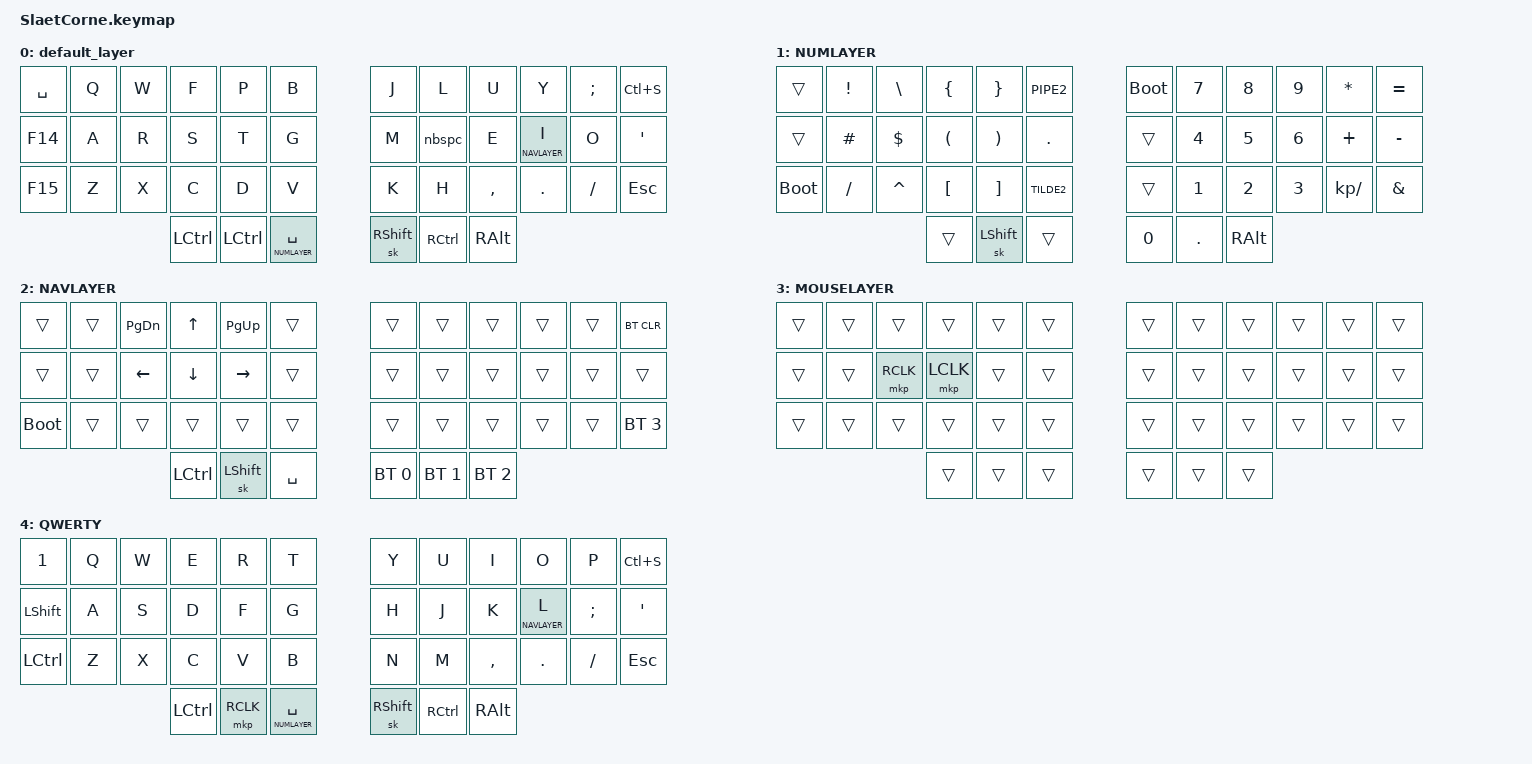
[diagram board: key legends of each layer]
/*
 * Copyright (c) 2020 The ZMK Contributors
 *
 * SPDX-License-Identifier: MIT
 */

#include <behaviors.dtsi>
#include <dt-bindings/zmk/keys.h>
#include <dt-bindings/zmk/bt.h>
#include <dt-bindings/zmk/mouse.h>
#define DEFAULT      0
#define NUMLAYER     1
#define NAVLAYER     2
#define MOUSELAYER   3
#define QWERTY       4

/*                                      42 KEY MATRIX / LAYOUT MAPPING

  ╭────────────────────────┬────────────────────────╮ ╭─────────────────────────┬─────────────────────────╮
  │  0   1   2   3   4   5 │  6   7   8   9  10  11 │ │ LT5 LT4 LT3 LT2 LT1 LT0 │ RT0 RT1 RT2 RT3 RT4 RT5 │
  │ 12  13  14  15  16  17 │ 18  19  20  21  22  23 │ │ LM5 LM4 LM3 LM2 LM1 LM0 │ RM0 RM1 RM2 RM3 RM4 RM5 │
  │ 24  25  26  27  28  29 │ 30  31  32  33  34  35 │ │ LB5 LB4 LB3 LB2 LB1 LB0 │ RB0 RB1 RB2 RB3 RB4 RB5 │
  ╰───────────╮ 36  37  38 │ 39  40  41 ╭───────────╯ ╰───────────╮ LH2 LH1 LH0 │ RH0 RH1 RH2 ╭───────────╯
              ╰────────────┴────────────╯                         ╰─────────────┴─────────────╯             */

/ {
     behaviors {
        nbspc: n_bspc {
            compatible = "zmk,behavior-mod-morph";
            #binding-cells = <0>;
            bindings = <&kp N>, <&kp BSPC>;
            mods = <(MOD_LCTL|MOD_RALT)>;
        };
    };
    
    combos {
        compatible = "zmk,combos";
        combo_esc {
            timeout-ms = <50>;
            key-positions = <0 1>;
            bindings = <&kp ESC>;
        };
        combo_ent {
            timeout-ms = <50>;
            key-positions = <31 32>;
            bindings = <&kp RET>;
        };
        combo_bspc {
            timeout-ms = <50>;
            key-positions = <19 20>;
            bindings = <&kp BSPC>;
        };
        combo_tab {
            timeout-ms = <50>;
            key-positions = <3 4>;
            bindings = <&kp TAB>;
        };
        combo_quote {
            timeout-ms = <50>;
            key-positions = <7 8>;
            bindings = <&kp SQT>;
        };
        combo_lclk {
            timeout-ms = <50>;
            key-positions = <15 16>;
            bindings = <&mkp LCLK>;
        };
        combo_rclk {
            timeout-ms = <50>;
            key-positions = <14 15>;
            bindings = <&mkp RCLK>;
        };
        combo_del {
            timeout-ms = <50>;
            key-positions = <27 28>;
            bindings = <&kp DEL>;
        };
        combo_qwerty {
            timeout-ms = <50>;
            key-positions = <9 10 11>;
            bindings = <&kp DEL>;
        };
    };
};

/ {
        keymap {
                compatible = "zmk,keymap";
                default_layer {

                        bindings = <
   &kp SPACE  &kp Q &kp W &kp F &kp P &kp B   &kp J &kp L  &kp U     &kp Y               &kp SEMI     &kp LC(S)
   &kp F14    &kp A &kp R &kp S &kp T &kp G   &kp M &nbspc  &kp E     &lt NAVLAYER I      &kp O        &kp SQT
   &kp F15    &kp Z &kp X &kp C &kp D &kp V   &kp K &kp H  &kp COMMA &kp DOT             &kp FSLH     &kp ESC

                  &kp LCTRL &kp LCTRL &lt NUMLAYER SPACE   &sk RSHIFT &kp RCTRL &kp RALT
                  
                        >;
                };
                NUMLAYER {

                        bindings = <
   &trans       &kp EXCL &kp BSLH    &kp LBRC &kp RBRC &kp PIPE2     &bootloader &kp N7  &kp N8     &kp N9   &kp ASTRK          &kp EQUAL
   &trans       &kp HASH &kp DLLR  &kp LPAR &kp RPAR &kp DOT       &trans &kp N4  &kp N5     &kp N6   &kp PLUS           &kp MINUS
   &bootloader  &kp FSLH &kp CARET &kp LBKT &kp RBKT &kp TILDE2    &trans &kp N1  &kp N2     &kp N3   &kp KP_DIVIDE      &kp AMPS

                  &trans &sk LSHIFT &trans   &kp N0 &kp DOT &kp RALT
                  
                        >;
                };
                NAVLAYER {

                        bindings = <
   &trans   &trans  &kp PG_DN   &kp UP      &kp PG_UP   &trans           &trans &trans  &trans  &trans  &trans  &bt BT_CLR
   &trans   &trans  &kp LEFT    &kp DOWN    &kp RIGHT   &trans           &trans &trans  &trans  &trans  &trans  &trans
   &bootloader   &trans  &trans      &trans      &trans      &trans           &trans &trans  &trans  &trans  &trans  &bt BT_SEL 3

                         &kp LCTRL &sk LSHIFT &kp SPACE                        &bt BT_SEL 0 &bt BT_SEL 1 &bt BT_SEL 2
                  
                        >;
                };
                MOUSELAYER {

                        bindings = <
   &trans   &trans &trans        &trans     &trans      &trans      &trans   &trans     &trans    &trans   &trans     &trans 
   &trans   &trans &mkp RCLK     &mkp LCLK  &trans      &trans      &trans   &trans     &trans    &trans   &trans     &trans 
   &trans   &trans &trans        &trans     &trans      &trans      &trans   &trans     &trans    &trans   &trans     &trans 

                   &trans &trans &trans  &trans &trans &trans
                  
                        >;
                };
                QWERTY {

                        bindings = <
   &kp N1      &kp Q &kp W &kp E  &kp R &kp T         &kp Y &kp U  &kp I     &kp O               &kp P     &kp LC(S)
   &kp LSHIFT  &kp A &kp S &kp D  &kp F &kp G       &kp H &kp J  &kp K     &lt NAVLAYER L      &kp SEMI        &kp SQT
   &kp LCTRL   &kp Z &kp X &kp C  &kp V &kp B       &kp N &kp M  &kp COMMA &kp DOT             &kp FSLH     &kp ESC

                  &kp LCTRL &mkp RCLK &lt NUMLAYER SPACE   &sk RSHIFT &kp RCTRL &kp RALT
                  
                        >;
                };
        };
};
